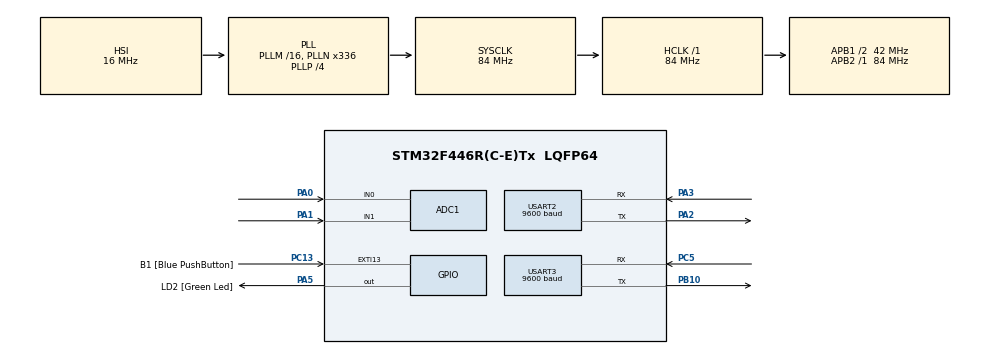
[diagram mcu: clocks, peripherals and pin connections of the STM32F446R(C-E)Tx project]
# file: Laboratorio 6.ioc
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ADC1.Channel-2\#ChannelRegularConversion=ADC_CHANNEL_0
ADC1.Channel-3\#ChannelRegularConversion=ADC_CHANNEL_1
ADC1.EOCSelection=ADC_EOC_SEQ_CONV
ADC1.NbrOfConversion=2
ADC1.NbrOfConversionFlag=1
ADC1.Rank-2\#ChannelRegularConversion=1
ADC1.Rank-3\#ChannelRegularConversion=2
ADC1.SamplingTime-2\#ChannelRegularConversion=ADC_SAMPLETIME_480CYCLES
ADC1.SamplingTime-3\#ChannelRegularConversion=ADC_SAMPLETIME_144CYCLES
ADC1.ScanConvMode=ENABLE
ADC1.master=1
Dma.ADC1.0.Direction=DMA_PERIPH_TO_MEMORY
Dma.ADC1.0.FIFOMode=DMA_FIFOMODE_DISABLE
Dma.ADC1.0.Instance=DMA2_Stream0
Dma.ADC1.0.MemDataAlignment=DMA_MDATAALIGN_HALFWORD
Dma.ADC1.0.MemInc=DMA_MINC_ENABLE
Dma.ADC1.0.Mode=DMA_NORMAL
Dma.ADC1.0.PeriphDataAlignment=DMA_PDATAALIGN_HALFWORD
Dma.ADC1.0.PeriphInc=DMA_PINC_DISABLE
Dma.ADC1.0.Priority=DMA_PRIORITY_LOW
Dma.Request0=ADC1
Mcu.Family=STM32F4
Mcu.Name=STM32F446R(C-E)Tx
Mcu.Package=LQFP64
NVIC.ADC_IRQn=true\:0\:0\:false\:false\:true\:true\:true\:true
NVIC.DMA2_Stream0_IRQn=true\:0\:0\:false\:false\:true\:false\:true\:true
NVIC.PriorityGroup=NVIC_PRIORITYGROUP_0
NVIC.USART3_IRQn=true\:0\:0\:false\:false\:true\:true\:true\:true
PA0-WKUP.Signal=ADCx_IN0
PA1.Signal=ADCx_IN1
PA13.GPIO_Label=TMS
PA13.Mode=Serial_Wire
PA13.Signal=SYS_JTMS-SWDIO
PA14.GPIO_Label=TCK
PA14.Mode=Serial_Wire
PA14.Signal=SYS_JTCK-SWCLK
PA2.GPIO_ModeDefaultPP=GPIO_MODE_AF_PP
PA2.GPIO_PuPd=GPIO_NOPULL
PA2.GPIO_Speed=GPIO_SPEED_FREQ_VERY_HIGH
PA2.Mode=Asynchronous
PA2.Signal=USART2_TX
PA3.GPIO_ModeDefaultPP=GPIO_MODE_AF_PP
PA3.GPIO_PuPd=GPIO_NOPULL
PA3.GPIO_Speed=GPIO_SPEED_FREQ_VERY_HIGH
PA3.Mode=Asynchronous
PA3.Signal=USART2_RX
PA5.GPIO_Label=LD2 [Green Led]
PA5.Signal=GPIO_Output
PB10.Mode=Asynchronous
PB10.Signal=USART3_TX
PB3.GPIO_Label=SWO
PB3.Signal=SYS_JTDO-SWO
PC13.GPIO_Label=B1 [Blue PushButton]
PC13.GPIO_ModeDefaultEXTI=GPIO_MODE_IT_FALLING
PC13.Signal=GPXTI13
PC14-OSC32_IN.Mode=LSE-External-Oscillator
PC14-OSC32_IN.Signal=RCC_OSC32_IN
PC15-OSC32_OUT.Mode=LSE-External-Oscillator
PC15-OSC32_OUT.Signal=RCC_OSC32_OUT
PC5.Mode=Asynchronous
PC5.Signal=USART3_RX
PH0-OSC_IN.Mode=HSE-External-Oscillator
PH0-OSC_IN.Signal=RCC_OSC_IN
PH1-OSC_OUT.Mode=HSE-External-Oscillator
PH1-OSC_OUT.Signal=RCC_OSC_OUT
ProjectManager.HeapSize=0x200
ProjectManager.StackSize=0x400
ProjectManager.TargetToolchain=STM32CubeIDE
RCC.48MHZClocksFreq_Value=84000000
RCC.AHBFreq_Value=84000000
RCC.APB1CLKDivider=RCC_HCLK_DIV2
RCC.APB1Freq_Value=42000000
RCC.APB1TimFreq_Value=84000000
RCC.APB2Freq_Value=84000000
RCC.APB2TimFreq_Value=84000000
RCC.CortexFreq_Value=84000000
RCC.FLatency-AdvancedSettings=FLASH_LATENCY_2
RCC.HCLKFreq_Value=84000000
RCC.HSE_VALUE=8000000
RCC.HSI_VALUE=16000000
RCC.PLLN=336
RCC.PLLP=RCC_PLLP_DIV4
RCC.SYSCLKFreq_VALUE=84000000
RCC.SYSCLKSource=RCC_SYSCLKSOURCE_PLLCLK
RCC.USBFreq_Value=168000000
RCC.VCOOutputFreq_Value=336000000
SH.ADCx_IN0.0=ADC1_IN0,IN0
SH.ADCx_IN1.0=ADC1_IN1,IN1
USART2.BaudRate=9600
USART2.VirtualMode=VM_ASYNC
USART3.BaudRate=9600
USART3.VirtualMode=VM_ASYNC
board=NUCLEO-F446RE

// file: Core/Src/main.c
/* USER CODE BEGIN Header */
/**
  ******************************************************************************
  * @file           : main.c
  * @brief          : Main program body
  ******************************************************************************
  * @attention
  *
  * Copyright (c) 2025 STMicroelectronics.
  * All rights reserved.
  *
  * This software is licensed under terms that can be found in the LICENSE file
  * in the root directory of this software component.
  * If no LICENSE file comes with this software, it is provided AS-IS.
  *
  ******************************************************************************
  */
/* USER CODE END Header */
#include "main.h"

/* USER CODE BEGIN Includes */
#include <stdio.h>
#include <string.h>
/* USER CODE END Includes */

ADC_HandleTypeDef hadc1;
DMA_HandleTypeDef hdma_adc1;

UART_HandleTypeDef huart2;
UART_HandleTypeDef huart3;

/* USER CODE BEGIN PV */
uint16_t lectura_ADC[2];
uint8_t estadoADC = 0;
uint16_t contador = 0;

uint16_t VRX_mitad = 1700;
uint16_t VRY_mitad = 1700;

uint16_t buffer[10];
uint8_t temp[2];
uint16_t indx  = 0;

uint8_t flag_up = 0;
uint8_t flag_down = 0;
uint8_t flag_left = 0;
uint8_t flag_right = 0;
uint8_t flag_A = 0;
uint8_t flag_B = 0;
/* USER CODE END PV */

void SystemClock_Config(void);
static void MX_GPIO_Init(void);
static void MX_DMA_Init(void);
static void MX_USART2_UART_Init(void);
static void MX_ADC1_Init(void);
static void MX_USART3_UART_Init(void);

int main(void)
{

  /* MCU Configuration--------------------------------------------------------*/

  /* Reset of all peripherals, Initializes the Flash interface and the Systick. */
  HAL_Init();

  /* Configure the system clock */
  SystemClock_Config();

  /* USER CODE BEGIN SysInit */
  uint8_t Arriba[] = "Arriba\r\n";
  uint8_t Abajo[] = "Abajo\r\n";
  uint8_t Derecha[] = "Derecha\r\n";
  uint8_t Izquierda[] = "Izquierda\r\n";
  uint8_t Up[] = "Up\r\n";
  uint8_t Down[] = "Down\r\n";
  uint8_t Left[] = "Left\r\n";
  uint8_t Right[] = "Right\r\n";
  uint8_t A[] = "A\r\n";
  uint8_t B[] = "B\r\n";
  /* USER CODE END SysInit */

  /* Initialize all configured peripherals */
  MX_GPIO_Init();
  MX_DMA_Init();
  MX_USART2_UART_Init();
  MX_ADC1_Init();
  MX_USART3_UART_Init();
  /* USER CODE BEGIN 2 */
HAL_ADC_Start_DMA(&hadc1, (uint32_t *)lectura_ADC, 2);

HAL_UART_Receive_IT(&huart3, temp, 1);
//HAL_UART_Receive_IT(&huart2, buffer, 10);

  /* USER CODE END 2 */

  /* Infinite loop */
  /* USER CODE BEGIN WHILE */
  while (1)
  {
	  HAL_Delay(50);
	  contador++;
	  if (estadoADC){
		  HAL_ADC_Start_DMA(&hadc1, (uint32_t *)lectura_ADC, 2);
		  estadoADC = 0;
	  }

	  //VRX_mitad = (lectura_ADC[1])/2;
	  //VRY_mitad = (lectura_ADC[0])/2;-

	  if (lectura_ADC[1] >= VRX_mitad){HAL_UART_Transmit(&huart2, Derecha, sizeof(Derecha), 2000);}
	  if(lectura_ADC[1] < VRX_mitad){HAL_UART_Transmit(&huart2, Izquierda, sizeof(Izquierda), 2000);}

	  if (lectura_ADC[0] >= VRX_mitad){HAL_UART_Transmit(&huart2, Arriba, sizeof(Arriba), 2000);}
	  else{HAL_UART_Transmit(&huart2, Abajo, sizeof(Abajo), 2000);}
	  HAL_Delay(500);

		for(int i = 0; i < 10; i++) {
			if (buffer[i] == 117){   //117 es ASCII de u
						flag_up = 1;
						buffer[i] = 0;
					}

			if (buffer[i] == 100){   //100 es ASCII de d
						flag_down = 1;
						buffer[i] = 0;

					}

			if (buffer[i] == 108){   //108 es ASCII de l
						flag_left = 1;
						buffer[i] = 0;
					}

			if (buffer[i] == 114){   //114 es ASCII de l
						flag_right = 1;
						buffer[i] = 0;
					}

			if (buffer[i] == 65){   //65 es ASCII de l
				    	flag_A = 1;
				    	buffer[i] = 0;
					}

			if (buffer[i] == 66){   //66 es ASCII de l
						flag_B = 1;
						buffer[i] = 0;
			 }

		    } //Fin del for

	  if (flag_up == 1){
		  HAL_UART_Transmit(&huart2, Up, sizeof(Up), 2000);
		  flag_up = 0;}

	  if (flag_down == 1){
		  HAL_UART_Transmit(&huart2, Down, sizeof(Down), 2000);
		  flag_down = 0;}

	  if (flag_left == 1){
		  HAL_UART_Transmit(&huart2, Left, sizeof(Left), 2000);
		  flag_left = 0;}

	  if (flag_right == 1){
		  HAL_UART_Transmit(&huart2, Right, sizeof(Right), 2000);
		  flag_right = 0;}

	  if (flag_A == 1){
		  HAL_UART_Transmit(&huart2, A, sizeof(A), 2000);
		  flag_A = 0;}

	   if (flag_B == 1){
		   HAL_UART_Transmit(&huart2, B, sizeof(B), 2000);
		   flag_B = 0;}

	   printf("Control 1");
	   sprintf("Control 1", Up);

	  }

    /* USER CODE END WHILE */

  }

void SystemClock_Config(void)
{
  RCC_OscInitTypeDef RCC_OscInitStruct = {0};
  RCC_ClkInitTypeDef RCC_ClkInitStruct = {0};

  /** Configure the main internal regulator output voltage
  */
  __HAL_RCC_PWR_CLK_ENABLE();
  __HAL_PWR_VOLTAGESCALING_CONFIG(PWR_REGULATOR_VOLTAGE_SCALE3);

  /** Initializes the RCC Oscillators according to the specified parameters
  * in the RCC_OscInitTypeDef structure.
  */
  RCC_OscInitStruct.OscillatorType = RCC_OSCILLATORTYPE_HSI;
  RCC_OscInitStruct.HSIState = RCC_HSI_ON;
  RCC_OscInitStruct.HSICalibrationValue = RCC_HSICALIBRATION_DEFAULT;
  RCC_OscInitStruct.PLL.PLLState = RCC_PLL_ON;
  RCC_OscInitStruct.PLL.PLLSource = RCC_PLLSOURCE_HSI;
  RCC_OscInitStruct.PLL.PLLM = 16;
  RCC_OscInitStruct.PLL.PLLN = 336;
  RCC_OscInitStruct.PLL.PLLP = RCC_PLLP_DIV4;
  RCC_OscInitStruct.PLL.PLLQ = 2;
  RCC_OscInitStruct.PLL.PLLR = 2;
  if (HAL_RCC_OscConfig(&RCC_OscInitStruct) != HAL_OK)
  {
    Error_Handler();
  }

  /** Initializes the CPU, AHB and APB buses clocks
  */
  RCC_ClkInitStruct.ClockType = RCC_CLOCKTYPE_HCLK|RCC_CLOCKTYPE_SYSCLK
                              |RCC_CLOCKTYPE_PCLK1|RCC_CLOCKTYPE_PCLK2;
  RCC_ClkInitStruct.SYSCLKSource = RCC_SYSCLKSOURCE_PLLCLK;
  RCC_ClkInitStruct.AHBCLKDivider = RCC_SYSCLK_DIV1;
  RCC_ClkInitStruct.APB1CLKDivider = RCC_HCLK_DIV2;
  RCC_ClkInitStruct.APB2CLKDivider = RCC_HCLK_DIV1;

  if (HAL_RCC_ClockConfig(&RCC_ClkInitStruct, FLASH_LATENCY_2) != HAL_OK)
  {
    Error_Handler();
  }
}

static void MX_ADC1_Init(void)
{

  ADC_ChannelConfTypeDef sConfig = {0};

  /** Configure the global features of the ADC (Clock, Resolution, Data Alignment and number of conversion)
  */
  hadc1.Instance = ADC1;
  hadc1.Init.ClockPrescaler = ADC_CLOCK_SYNC_PCLK_DIV4;
  hadc1.Init.Resolution = ADC_RESOLUTION_12B;
  hadc1.Init.ScanConvMode = ENABLE;
  hadc1.Init.ContinuousConvMode = DISABLE;
  hadc1.Init.DiscontinuousConvMode = DISABLE;
  hadc1.Init.ExternalTrigConvEdge = ADC_EXTERNALTRIGCONVEDGE_NONE;
  hadc1.Init.ExternalTrigConv = ADC_SOFTWARE_START;
  hadc1.Init.DataAlign = ADC_DATAALIGN_RIGHT;
  hadc1.Init.NbrOfConversion = 2;
  hadc1.Init.DMAContinuousRequests = DISABLE;
  hadc1.Init.EOCSelection = ADC_EOC_SEQ_CONV;
  if (HAL_ADC_Init(&hadc1) != HAL_OK)
  {
    Error_Handler();
  }

  /** Configure for the selected ADC regular channel its corresponding rank in the sequencer and its sample time.
  */
  sConfig.Channel = ADC_CHANNEL_0;
  sConfig.Rank = 1;
  sConfig.SamplingTime = ADC_SAMPLETIME_480CYCLES;
  if (HAL_ADC_ConfigChannel(&hadc1, &sConfig) != HAL_OK)
  {
    Error_Handler();
  }

  /** Configure for the selected ADC regular channel its corresponding rank in the sequencer and its sample time.
  */
  sConfig.Channel = ADC_CHANNEL_1;
  sConfig.Rank = 2;
  sConfig.SamplingTime = ADC_SAMPLETIME_144CYCLES;
  if (HAL_ADC_ConfigChannel(&hadc1, &sConfig) != HAL_OK)
  {
    Error_Handler();
  }

}

static void MX_USART2_UART_Init(void)
{

  huart2.Instance = USART2;
  huart2.Init.BaudRate = 9600;
  huart2.Init.WordLength = UART_WORDLENGTH_8B;
  huart2.Init.StopBits = UART_STOPBITS_1;
  huart2.Init.Parity = UART_PARITY_NONE;
  huart2.Init.Mode = UART_MODE_TX_RX;
  huart2.Init.HwFlowCtl = UART_HWCONTROL_NONE;
  huart2.Init.OverSampling = UART_OVERSAMPLING_16;
  if (HAL_UART_Init(&huart2) != HAL_OK)
  {
    Error_Handler();
  }

}

static void MX_USART3_UART_Init(void)
{

  huart3.Instance = USART3;
  huart3.Init.BaudRate = 9600;
  huart3.Init.WordLength = UART_WORDLENGTH_8B;
  huart3.Init.StopBits = UART_STOPBITS_1;
  huart3.Init.Parity = UART_PARITY_NONE;
  huart3.Init.Mode = UART_MODE_TX_RX;
  huart3.Init.HwFlowCtl = UART_HWCONTROL_NONE;
  huart3.Init.OverSampling = UART_OVERSAMPLING_16;
  if (HAL_UART_Init(&huart3) != HAL_OK)
  {
    Error_Handler();
  }

}

static void MX_DMA_Init(void)
{

  /* DMA controller clock enable */
  __HAL_RCC_DMA2_CLK_ENABLE();

  /* DMA interrupt init */
  /* DMA2_Stream0_IRQn interrupt configuration */
  HAL_NVIC_SetPriority(DMA2_Stream0_IRQn, 0, 0);
  HAL_NVIC_EnableIRQ(DMA2_Stream0_IRQn);

}

static void MX_GPIO_Init(void)
{
  GPIO_InitTypeDef GPIO_InitStruct = {0};

  /* GPIO Ports Clock Enable */
  __HAL_RCC_GPIOC_CLK_ENABLE();
  __HAL_RCC_GPIOH_CLK_ENABLE();
  __HAL_RCC_GPIOA_CLK_ENABLE();
  __HAL_RCC_GPIOB_CLK_ENABLE();

  /*Configure GPIO pin Output Level */
  HAL_GPIO_WritePin(LD2_GPIO_Port, LD2_Pin, GPIO_PIN_RESET);

  /*Configure GPIO pin : B1_Pin */
  GPIO_InitStruct.Pin = B1_Pin;
  GPIO_InitStruct.Mode = GPIO_MODE_IT_FALLING;
  GPIO_InitStruct.Pull = GPIO_NOPULL;
  HAL_GPIO_Init(B1_GPIO_Port, &GPIO_InitStruct);

  /*Configure GPIO pin : LD2_Pin */
  GPIO_InitStruct.Pin = LD2_Pin;
  GPIO_InitStruct.Mode = GPIO_MODE_OUTPUT_PP;
  GPIO_InitStruct.Pull = GPIO_NOPULL;
  GPIO_InitStruct.Speed = GPIO_SPEED_FREQ_LOW;
  HAL_GPIO_Init(LD2_GPIO_Port, &GPIO_InitStruct);

}

/* USER CODE BEGIN 4 */
void HAL_ADC_ConvCpltCallback(ADC_HandleTypeDef *hadc){
	estadoADC = 1;

}

void HAL_UART_RxCpltCallback(UART_HandleTypeDef *huart){
	//HAL_UART_Transmit(&huart2, buffer, sizeof(buffer), 1000);
	//HAL_UART_Receive_IT(&huart2, buffer, 10);

	memcpy (buffer + indx, temp, 1);
	++indx;
	if(indx >= 10){
		indx = 0;
	}

	//if (buffer[0] == 117){
	//	flag_up = 1;
	//}

/*
	for(int i = 0; i < 10; i++) {
		if (buffer[i] == 117){   //117 es ASCII de u
					flag_up = 1;
				}

		if (buffer[i] == 100){   //100 es ASCII de d
					flag_down = 1;
				}

		if (buffer[i] == 108){   //108 es ASCII de l
					flag_left = 1;
				}

		if (buffer[i] == 114){   //114 es ASCII de l
					flag_right = 1;
				}

		if (buffer[i] == 65){   //65 es ASCII de l
			    	flag_A = 1;
				}

		if (buffer[i] == 66){   //66 es ASCII de l
					flag_B = 1;
		 }

	    } //Fin del for
*/

	HAL_UART_Receive_IT(&huart3, temp, 1);

}

/* USER CODE END 4 */

void Error_Handler(void)
{
  __disable_irq();
  while (1)
  {
  }
}
